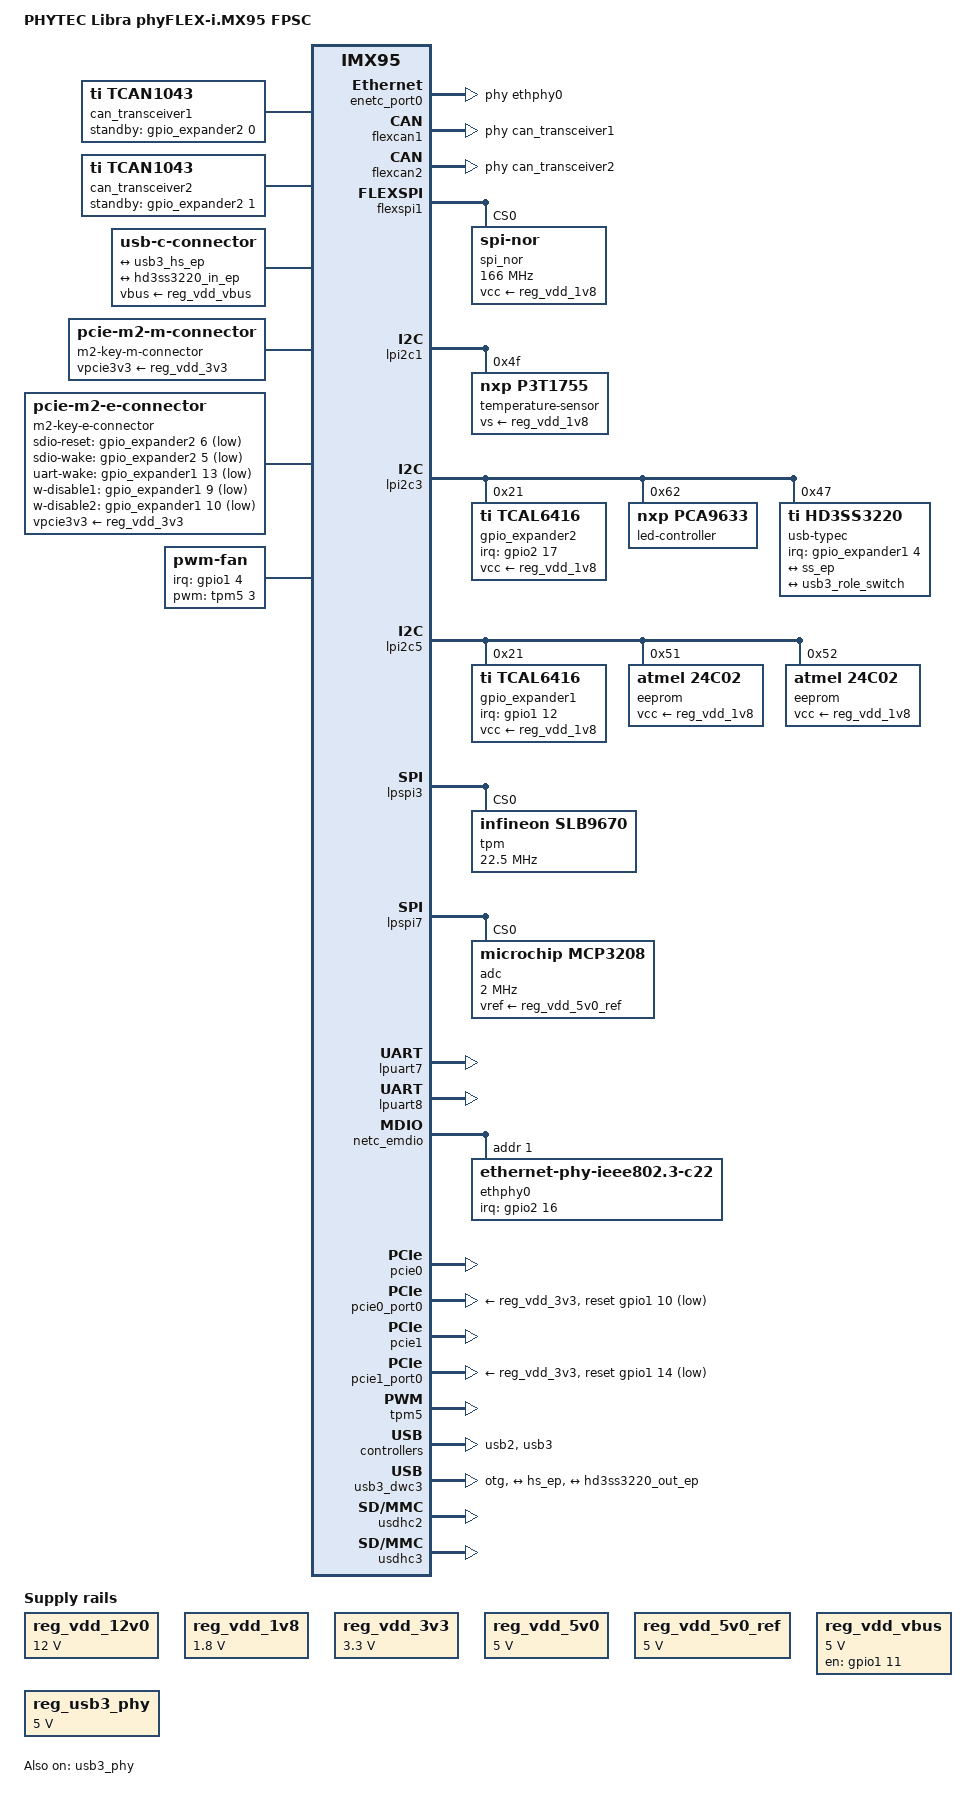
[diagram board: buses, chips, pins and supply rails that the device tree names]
// SPDX-License-Identifier: (GPL-2.0+ OR MIT)
/*
 * Copyright 2026 PHYTEC Messtechnik GmbH
 */

/dts-v1/;

#include <dt-bindings/interrupt-controller/irq.h>
#include <dt-bindings/leds/common.h>
#include <dt-bindings/pwm/pwm.h>

#include "imx95-phyflex-fpsc-g-som.dtsi"

/ {
	compatible = "phytec,imx95-phyflex-libra-rdk",
		     "phytec,imx95-phyflex-fpsc-g", "fsl,imx95";
	model = "PHYTEC Libra phyFLEX-i.MX95 FPSC";

	aliases {
		ethernet3 = &enetc_port2;
		mmc0 = &usdhc1;
		mmc1 = &usdhc2;
		mmc2 = &usdhc3;
		rtc0 = &rv3028;
		rtc1 = &scmi_bbm;
	};

	chosen {
		stdout-path = &lpuart7;
	};

	can_transceiver1: can-phy1 {
		compatible = "ti,tcan1043";
		#phy-cells = <0>;
		max-bitrate = <8000000>;
		standby-gpios = <&gpio_expander2 0 GPIO_ACTIVE_HIGH>;
	};

	can_transceiver2: can-phy2 {
		compatible = "ti,tcan1043";
		#phy-cells = <0>;
		max-bitrate = <8000000>;
		standby-gpios = <&gpio_expander2 1 GPIO_ACTIVE_HIGH>;
	};

	connector {
		compatible = "usb-c-connector";
		label = "USB-C";
		data-role = "dual";
		pd-disable;
		self-powered;
		typec-power-opmode = "1.5A";
		vbus-supply = <&reg_vdd_vbus>;

		ports {
			#address-cells = <1>;
			#size-cells = <0>;

			port@0 {
				reg = <0>;

				hs_ep: endpoint {
					remote-endpoint = <&usb3_hs_ep>;
				};
			};
			port@1 {
				reg = <1>;

				ss_ep: endpoint {
					remote-endpoint = <&hd3ss3220_in_ep>;
				};
			};
		};
	};

	m2-key-m-connector {
		compatible = "pcie-m2-m-connector";
		clocks = <&rv3028>;
		i2c-parent = <&lpi2c5>;
		vpcie3v3-supply = <&reg_vdd_3v3>;
	};

	m2-key-e-connector {
		compatible = "pcie-m2-e-connector";
		clocks = <&rv3028>;
		i2c-parent = <&lpi2c3>;
		sdio-reset-gpios = <&gpio_expander2 6 GPIO_ACTIVE_LOW>;
		sdio-wake-gpios = <&gpio_expander2 5 GPIO_ACTIVE_LOW>;
		uart-wake-gpios = <&gpio_expander1 13 GPIO_ACTIVE_LOW>;
		vpcie3v3-supply = <&reg_vdd_3v3>;
		w-disable1-gpios = <&gpio_expander1 9 GPIO_ACTIVE_LOW>;
		w-disable2-gpios = <&gpio_expander1 10 GPIO_ACTIVE_LOW>;
	};


	osc_mclk: oscillator-mclk {
		compatible = "fixed-clock";
		#clock-cells = <0>;
		clock-frequency = <19200000>;
		status = "disabled";
	};

	osc_mclk_gated: oscillator-mclk-gated {
		compatible = "gpio-gate-clock";
		#clock-cells = <0>;
		clocks = <&osc_mclk>;
		enable-gpios = <&gpio_expander1 8 GPIO_ACTIVE_HIGH>;
		status = "disabled";
	};

	fan: pwm-fan {
		compatible = "pwm-fan";
		interrupt-parent = <&gpio1>;
		interrupts = <4 IRQ_TYPE_EDGE_RISING>;
		#cooling-cells = <2>;
		/* startup 35%, duty cycle 30%-100%;
		 * polarity inversion does not appear to work
		 */
		cooling-levels = <255 166 96 0>;
		/* fan-supply = <&reg_vdd_5v0>;  probe fails with this set */
		pwms = <&tpm5 3 86958 0>;
		pulses-per-revolution = <2>;
	};

	reg_vdd_12v0: regulator-vdd-12v0 {
		compatible = "regulator-fixed";
		regulator-always-on;
		regulator-boot-on;
		regulator-max-microvolt = <12000000>;
		regulator-min-microvolt = <12000000>;
		regulator-name = "VDD_12V0";
	};

	reg_vdd_1v8: regulator-vdd-1v8 {
		compatible = "regulator-fixed";
		regulator-always-on;
		regulator-boot-on;
		regulator-max-microvolt = <1800000>;
		regulator-min-microvolt = <1800000>;
		regulator-name = "VDD_1V8";
	};

	reg_vdd_3v3: regulator-vdd-3v3 {
		compatible = "regulator-fixed";
		regulator-always-on;
		regulator-boot-on;
		regulator-max-microvolt = <3300000>;
		regulator-min-microvolt = <3300000>;
		regulator-name = "VDD_3V3";
	};

	reg_vdd_5v0: regulator-vdd-5v0 {
		compatible = "regulator-fixed";
		regulator-always-on;
		regulator-boot-on;
		regulator-max-microvolt = <5000000>;
		regulator-min-microvolt = <5000000>;
		regulator-name = "VDD_5V0";
	};

	reg_vdd_5v0_ref: regulator-vdd-5v0-ref {
		compatible = "regulator-fixed";
		regulator-always-on;
		regulator-boot-on;
		regulator-max-microvolt = <5000000>;
		regulator-min-microvolt = <5000000>;
		regulator-name = "VDD_5V0_REF";
	};

	reg_vdd_vbus: regulator-vdd-vbus {
		compatible = "regulator-fixed";
		enable-active-high;
		gpio = <&gpio1 11 GPIO_ACTIVE_HIGH>;
		regulator-min-microvolt = <5000000>;
		regulator-max-microvolt = <5000000>;
		regulator-name = "VDD_VBUS_C";
	};

	reg_usb3_phy: regulator-usb-vbus {
		compatible = "regulator-fixed";
		regulator-min-microvolt = <5000000>;
		regulator-max-microvolt = <5000000>;
		regulator-name = "usb3-phy-dummy";
	};
};

&enetc_port0 {
	phy-handle = <&ethphy0>;
	status = "okay";
};

/* CAN FD */
&flexcan1 {
	phys = <&can_transceiver1>;
	status = "okay";
};

&flexcan2 {
	phys = <&can_transceiver2>;
	status = "okay";
};

/* SPI-NOR */
&flexspi1 {
	pinctrl-0 = <&pinctrl_flexspi>;
	pinctrl-names = "default";
	status = "okay";

	spi_nor: flash@0 {
		compatible = "jedec,spi-nor";
		reg = <0>;
		spi-max-frequency = <166000000>;
		spi-rx-bus-width = <4>;
		spi-tx-bus-width = <4>;
		vcc-supply = <&reg_vdd_1v8>;
	};
};

&gpio2 {
	gpio-line-names = "", "", "", "", "",
			  "", "", "", "", "",
			  "", "", "", "", "",
			  "", "RGMII2_nINT", "GPIO4", "RTC_INT", "",
			  "LVDS1_BL_EN";
};

&lpi2c1 {
	temperature-sensor@4f {
		compatible = "nxp,p3t1755";
		reg = <0x4f>;
		vs-supply = <&reg_vdd_1v8>;
	};
};

&lpi2c3 {
	status = "okay";

	gpio_expander2: gpio@21 {
		compatible = "ti,tcal6416";
		reg = <0x21>;
		interrupt-parent = <&gpio2>;
		interrupts = <17 IRQ_TYPE_LEVEL_LOW>;
		#interrupt-cells = <2>;
		gpio-controller;
		#gpio-cells = <2>;
		gpio-line-names = "CAN1_STBY", "CAN2_STBY", "NC",
				  "KEY-E_nALERT", "KEY-M_nALERT",
				  "SDIO_nWAKE", "SDIO_nRESET", "HDMI_EN",
				  "RTC_nINT", "LVDS1_BL_EN", "SFP_TX_FAULT",
				  "SFP_TX_DISABLE", "SFP_MOD_ABS", "SFP_RS0",
				  "SFP_RX_LOSS", "SFP_RS1";
		interrupt-controller;
		vcc-supply = <&reg_vdd_1v8>;
	};

	led-controller@62 {
		compatible = "nxp,pca9633";
		reg = <0x62>;
		#address-cells = <1>;
		#size-cells = <0>;

		led@0 {
			reg = <0>;
			color = <LED_COLOR_ID_RED>;
			function = LED_FUNCTION_STATUS;
		};

		led@1 {
			reg = <1>;
			color = <LED_COLOR_ID_GREEN>;
			function = LED_FUNCTION_STATUS;
		};

		led@2 {
			reg = <2>;
			color = <LED_COLOR_ID_BLUE>;
			function = LED_FUNCTION_STATUS;
		};
	};

	usb-typec@47 {
		compatible = "ti,hd3ss3220";
		reg = <0x47>;
		interrupt-parent = <&gpio_expander1>;
		interrupts = <4 IRQ_TYPE_LEVEL_LOW>;
		ports {
			#address-cells = <1>;
			#size-cells = <0>;

			port@0 {
				reg = <0>;

				hd3ss3220_in_ep: endpoint {
					remote-endpoint = <&ss_ep>;
				};
			};

			port@1 {
				reg = <1>;

				hd3ss3220_out_ep: endpoint {
					remote-endpoint = <&usb3_role_switch>;
				};
			};
		};
	};
};

&lpi2c5 {
	status = "okay";

	gpio_expander1: gpio@21 {
		compatible = "ti,tcal6416";
		reg = <0x21>;
		interrupt-controller;
		interrupt-parent = <&gpio1>;
		interrupts = <12 IRQ_TYPE_LEVEL_LOW>;
		#interrupt-cells = <2>;
		#gpio-cells = <2>;
		gpio-controller;
		gpio-line-names = "VCONN_nFAULT", "CSI1_CTRL1", "CSI1_CTRL3",
				  "CSI1_CTRL4", "USB-C_nINT/AUDIO_AC",
				  "CSI2_CTRL1", "CSI2_CTRL3", "CSI2_CTRL4",
				  "CLK_EN_AV", "W_nDISABLE1", "W_nDISABLE2",
				  "PCIE1_nWAKE", "PCIE2_nWAKE", "UART1_nWAKE",
				  "UART1_BT_RS_SEL", "UART1_RS232_485_SEL";

		vcc-supply = <&reg_vdd_1v8>;
	};

	/* Factory EEPROM */
	eeprom@51 {
		compatible = "atmel,24c02";
		reg = <0x51>;
		pagesize = <16>;
		vcc-supply = <&reg_vdd_1v8>;
	};

	/* User EEPROM */
	eeprom@52 {
		compatible = "atmel,24c02";
		reg = <0x52>;
		pagesize = <16>;
		vcc-supply = <&reg_vdd_1v8>;
	};
};

&lpspi3 {
	#address-cells = <1>;
	#size-cells = <0>;
	num-cs = <1>;
	assigned-clocks = <&scmi_clk IMX95_CLK_LPSPI3>;
	assigned-clock-parents = <&scmi_clk IMX95_CLK_SYSPLL1_PFD0_DIV2>;
	assigned-clock-rates = <50000000>;
	status = "okay";

	tpm: tpm@0 {
		compatible = "infineon,slb9670", "tcg,tpm_tis-spi";
		reg = <0>;
		spi-max-frequency = <22500000>;
	};
};

&lpspi7 {
	#address-cells = <1>;
	#size-cells = <0>;
	num-cs = <1>;
	status = "okay";

	adc@0 {
		compatible = "microchip,mcp3208";
		reg = <0>;
		spi-max-frequency = <2000000>;
		vref-supply = <&reg_vdd_5v0_ref>;
		#io-channel-cells = <1>;
	};
};

/* Used for M33 debug */
&lpuart2 {
	pinctrl-0 = <&pinctrl_lpuart2>;
	pinctrl-names = "default";
	status = "reserved";
};

/* A-55 debug UART */
&lpuart7 {
	status = "okay";
};

/* RS232/RS485/BT */
&lpuart8 {
	uart-has-rtscts;
	status = "okay";
};

&netc_emdio { /* RGMII2 */
	ethphy0: ethernet-phy@1 {
		compatible = "ethernet-phy-ieee802.3-c22";
		reg = <0x1>;
		interrupt-parent = <&gpio2>;
		interrupts = <16 IRQ_TYPE_LEVEL_LOW>;
		enet-phy-lane-no-swap;
		ti,clk-output-sel = <DP83867_CLK_O_SEL_OFF>;
		ti,fifo-depth = <DP83867_PHYCR_FIFO_DEPTH_4_B_NIB>;
		ti,min-output-impedance;
		ti,rx-internal-delay = <DP83867_RGMIIDCTL_2_00_NS>;
		ti,tx-internal-delay = <DP83867_RGMIIDCTL_2_00_NS>;
	};
};

/* M.2 Key-E PCIe */
&pcie0 {
	external-facing;
	supports-clkreq;
	wake-gpios = <&gpio_expander1 11 GPIO_ACTIVE_LOW>;
	status = "okay";
};

&pcie0_port0 {
	reset-gpios = <&gpio1 10 GPIO_ACTIVE_LOW>;
	vpcie3v3-supply = <&reg_vdd_3v3>;
};

/* M.2 Key-M PCIe */
&pcie1 {
	external-facing;
	supports-clkreq;
	wake-gpios = <&gpio_expander1 12 GPIO_ACTIVE_LOW>;
	status = "okay";
};

&pcie1_port0 {
	reset-gpios = <&gpio1 14 GPIO_ACTIVE_LOW>;
	vpcie3v3-supply = <&reg_vdd_3v3>;
};

&rv3028 {
	interrupt-parent = <&gpio_expander2>;
	interrupts = <8 IRQ_TYPE_LEVEL_LOW>;
	aux-voltage-chargeable = <1>;
	wakeup-source;
};

&scmi_bbm {
	linux,code = <KEY_POWER>;
};

&scmi_iomuxc {
	pinctrl_lpuart2: lpuart2grp { /* FPSC proprietary */
		fsl,pins = <
			IMX95_PAD_UART2_TXD__AONMIX_TOP_LPUART2_TX	0x31e
			IMX95_PAD_UART2_RXD__AONMIX_TOP_LPUART2_RX	0x31e
		>;
	};
};

&thermal_zones {
	a55-thermal {
		trips {
			atrip2: trip2 {
				temperature = <55000>;
				hysteresis = <2000>;
				type = "active";
			};

			atrip3: trip3 {
				temperature = <65000>;
				hysteresis = <2000>;
				type = "active";
			};

			atrip4: trip4 {
				temperature = <75000>;
				hysteresis = <2000>;
				type = "active";
			};
		};

		cooling-maps {
			map1 {
				trip = <&atrip2>;
				cooling-device = <&fan 0 1>;
			};

			map2 {
				trip = <&atrip3>;
				cooling-device = <&fan 1 2>;
			};

			map3 {
				trip = <&atrip4>;
				cooling-device = <&fan 2 3>;
			};
		};
	};
};

&tpm5 {
	status = "okay";
};

&usb2 {
	disable-over-current;
	status = "okay";
};

&usb3 {
	status = "okay";
};

&usb3_dwc3 {
	adp-disable;
	dr_mode = "otg";
	hnp-disable;
	srp-disable;
	usb-role-switch;
	status = "okay";

	ports {
		#address-cells = <1>;
		#size-cells = <0>;

		port@0 {
			reg = <0>;
			usb3_hs_ep: endpoint {
				remote-endpoint = <&hs_ep>;
			};
		};
		port@1 {
			reg = <1>;
			usb3_role_switch: endpoint {
				remote-endpoint = <&hd3ss3220_out_ep>;
			};
		};
	};
};

&usb3_phy {
	status = "okay";
	vbus-supply = <&reg_usb3_phy>;
};

&usbphynop {
	vbus-supply = <&reg_vdd_5v0>;
};

/* uSD Card */
&usdhc2 {
	status = "okay";
};

/* SDIO used on pcie m.2 key-E */
&usdhc3 {
	broken-cd;
	disable-wp;
	status = "okay";
};
